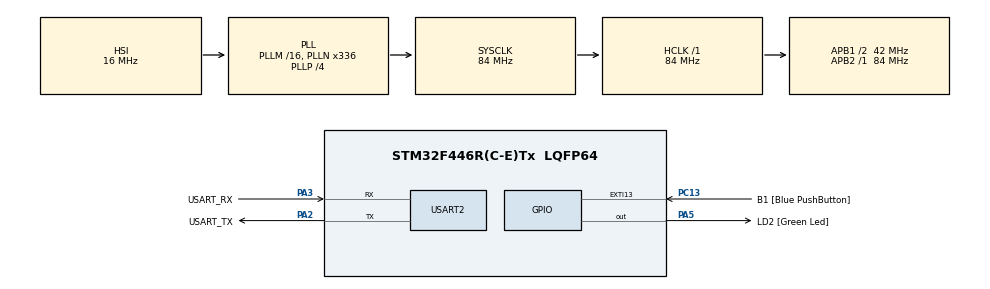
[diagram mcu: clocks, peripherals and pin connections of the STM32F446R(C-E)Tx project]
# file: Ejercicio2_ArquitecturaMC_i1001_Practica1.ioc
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Mcu.Family=STM32F4
Mcu.Name=STM32F446R(C-E)Tx
Mcu.Package=LQFP64
NVIC.PriorityGroup=NVIC_PRIORITYGROUP_0
PA13.GPIO_Label=TMS
PA13.Mode=Serial_Wire
PA13.Signal=SYS_JTMS-SWDIO
PA14.GPIO_Label=TCK
PA14.Mode=Serial_Wire
PA14.Signal=SYS_JTCK-SWCLK
PA2.GPIO_Label=USART_TX
PA2.Mode=Asynchronous
PA2.Signal=USART2_TX
PA3.GPIO_Label=USART_RX
PA3.Mode=Asynchronous
PA3.Signal=USART2_RX
PA5.GPIO_Label=LD2 [Green Led]
PA5.Signal=GPIO_Output
PB3.GPIO_Label=SWO
PB3.Signal=SYS_JTDO-SWO
PC13.GPIO_Label=B1 [Blue PushButton]
PC13.GPIO_ModeDefaultEXTI=GPIO_MODE_IT_FALLING
PC13.Signal=GPXTI13
PC14-OSC32_IN.Mode=LSE-External-Oscillator
PC14-OSC32_IN.Signal=RCC_OSC32_IN
PC15-OSC32_OUT.Mode=LSE-External-Oscillator
PC15-OSC32_OUT.Signal=RCC_OSC32_OUT
PH0-OSC_IN.Mode=HSE-External-Oscillator
PH0-OSC_IN.Signal=RCC_OSC_IN
PH1-OSC_OUT.Mode=HSE-External-Oscillator
PH1-OSC_OUT.Signal=RCC_OSC_OUT
ProjectManager.HeapSize=0x200
ProjectManager.StackSize=0x400
ProjectManager.TargetToolchain=STM32CubeIDE
RCC.48MHZClocksFreq_Value=84000000
RCC.AHBFreq_Value=84000000
RCC.APB1CLKDivider=RCC_HCLK_DIV2
RCC.APB1Freq_Value=42000000
RCC.APB1TimFreq_Value=84000000
RCC.APB2Freq_Value=84000000
RCC.APB2TimFreq_Value=84000000
RCC.CortexFreq_Value=84000000
RCC.FLatency-AdvancedSettings=FLASH_LATENCY_2
RCC.HCLKFreq_Value=84000000
RCC.HSE_VALUE=8000000
RCC.HSI_VALUE=16000000
RCC.PLLN=336
RCC.PLLP=RCC_PLLP_DIV4
RCC.SYSCLKFreq_VALUE=84000000
RCC.SYSCLKSource=RCC_SYSCLKSOURCE_PLLCLK
RCC.USBFreq_Value=168000000
RCC.VCOOutputFreq_Value=336000000
USART2.VirtualMode=VM_ASYNC
board=NUCLEO-F446RE

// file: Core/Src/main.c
/* USER CODE BEGIN Header */
/**
  ******************************************************************************
  * @file           : main.c
  * @brief          : Main program body
  ******************************************************************************
  * @attention
  *
  * Copyright (c) 2025 STMicroelectronics.
  * All rights reserved.
  *
  * This software is licensed under terms that can be found in the LICENSE file
  * in the root directory of this software component.
  * If no LICENSE file comes with this software, it is provided AS-IS.
  *
  ******************************************************************************
  */
/* USER CODE END Header */
#include "main.h"

UART_HandleTypeDef huart2;

/* USER CODE BEGIN PV */
#define LEN 5
uint32_t datoOriginal = 1023; // 0x3FF
uint32_t ancho = 5;
uint32_t inicio = 3;
uint32_t resultadoC;
uint32_t resultadoAsm;
#define LEN 5
uint32_t vectorEntrada[LEN] = {10, 20, 30, 40, 50};
uint32_t vectorSalidaC[LEN];
uint32_t vectorSalidaAsm[LEN];
uint16_t miEscalar = 2;
uint16_t vecIn16[LEN] = {100, 2000, 3000, 4000, 50}; // 3000*2 y 4000*2 saturarán
uint16_t vecOut16_C[LEN];
uint16_t vecOut16_Asm[LEN];
uint16_t escalar16 = 2;
/* USER CODE END PV */

void SystemClock_Config(void);
static void MX_GPIO_Init(void);
static void MX_USART2_UART_Init(void);
/* USER CODE BEGIN PFP */
void productoEscalar32_C(uint32_t *vectorIn, uint32_t *vectorOut, uint32_t longitud, uint16_t escalar);
extern void productoEscalar32_Asm(uint32_t *vectorIn, uint32_t *vectorOut, uint32_t longitud, uint16_t escalar);

void productoEscalar12_C(uint16_t *vectorIn, uint16_t *vectorOut, uint32_t longitud, uint16_t escalar);
extern void productoEscalar12_Asm(uint16_t *vectorIn, uint16_t *vectorOut, uint32_t longitud, uint16_t escalar);

uint32_t bitfield_clear_C(uint32_t dato, uint32_t ancho, uint32_t inicio);
extern uint32_t bitfield_clear_Asm(uint32_t dato, uint32_t ancho, uint32_t inicio);
/* USER CODE END PFP */

int main(void)
{

  /* MCU Configuration--------------------------------------------------------*/

  /* Reset of all peripherals, Initializes the Flash interface and the Systick. */
  HAL_Init();

  /* Configure the system clock */
  SystemClock_Config();

  /* Initialize all configured peripherals */
  MX_GPIO_Init();
  MX_USART2_UART_Init();
  /* USER CODE BEGIN 2 */

  // Prueba en C
  productoEscalar32_C(vectorEntrada, vectorSalidaC, LEN, miEscalar);

  // Prueba en Assembly
  productoEscalar32_Asm(vectorEntrada, vectorSalidaAsm, LEN, miEscalar);

  // Prueba Ejercicio 2 - C
  productoEscalar12_C(vecIn16, vecOut16_C, LEN, escalar16);

  // Prueba Ejercicio 2 - Assembly
  productoEscalar12_Asm(vecIn16, vecOut16_Asm, LEN, escalar16);

  // Prueba Ejercicio 3
  resultadoC = bitfield_clear_C(datoOriginal, ancho, inicio);
  resultadoAsm = bitfield_clear_Asm(datoOriginal, ancho, inicio);

  /* USER CODE END 2 */

  /* Infinite loop */
  while (1)
  {

  }
}

void SystemClock_Config(void)
{
  RCC_OscInitTypeDef RCC_OscInitStruct = {0};
  RCC_ClkInitTypeDef RCC_ClkInitStruct = {0};

  /** Configure the main internal regulator output voltage
  */
  __HAL_RCC_PWR_CLK_ENABLE();
  __HAL_PWR_VOLTAGESCALING_CONFIG(PWR_REGULATOR_VOLTAGE_SCALE3);

  /** Initializes the RCC Oscillators according to the specified parameters
  * in the RCC_OscInitTypeDef structure.
  */
  RCC_OscInitStruct.OscillatorType = RCC_OSCILLATORTYPE_HSI;
  RCC_OscInitStruct.HSIState = RCC_HSI_ON;
  RCC_OscInitStruct.HSICalibrationValue = RCC_HSICALIBRATION_DEFAULT;
  RCC_OscInitStruct.PLL.PLLState = RCC_PLL_ON;
  RCC_OscInitStruct.PLL.PLLSource = RCC_PLLSOURCE_HSI;
  RCC_OscInitStruct.PLL.PLLM = 16;
  RCC_OscInitStruct.PLL.PLLN = 336;
  RCC_OscInitStruct.PLL.PLLP = RCC_PLLP_DIV4;
  RCC_OscInitStruct.PLL.PLLQ = 2;
  RCC_OscInitStruct.PLL.PLLR = 2;
  if (HAL_RCC_OscConfig(&RCC_OscInitStruct) != HAL_OK)
  {
    Error_Handler();
  }

  /** Initializes the CPU, AHB and APB buses clocks
  */
  RCC_ClkInitStruct.ClockType = RCC_CLOCKTYPE_HCLK|RCC_CLOCKTYPE_SYSCLK
                              |RCC_CLOCKTYPE_PCLK1|RCC_CLOCKTYPE_PCLK2;
  RCC_ClkInitStruct.SYSCLKSource = RCC_SYSCLKSOURCE_PLLCLK;
  RCC_ClkInitStruct.AHBCLKDivider = RCC_SYSCLK_DIV1;
  RCC_ClkInitStruct.APB1CLKDivider = RCC_HCLK_DIV2;
  RCC_ClkInitStruct.APB2CLKDivider = RCC_HCLK_DIV1;

  if (HAL_RCC_ClockConfig(&RCC_ClkInitStruct, FLASH_LATENCY_2) != HAL_OK)
  {
    Error_Handler();
  }
}

static void MX_USART2_UART_Init(void)
{

  huart2.Instance = USART2;
  huart2.Init.BaudRate = 115200;
  huart2.Init.WordLength = UART_WORDLENGTH_8B;
  huart2.Init.StopBits = UART_STOPBITS_1;
  huart2.Init.Parity = UART_PARITY_NONE;
  huart2.Init.Mode = UART_MODE_TX_RX;
  huart2.Init.HwFlowCtl = UART_HWCONTROL_NONE;
  huart2.Init.OverSampling = UART_OVERSAMPLING_16;
  if (HAL_UART_Init(&huart2) != HAL_OK)
  {
    Error_Handler();
  }

}

static void MX_GPIO_Init(void)
{
  GPIO_InitTypeDef GPIO_InitStruct = {0};

  /* GPIO Ports Clock Enable */
  __HAL_RCC_GPIOC_CLK_ENABLE();
  __HAL_RCC_GPIOH_CLK_ENABLE();
  __HAL_RCC_GPIOA_CLK_ENABLE();
  __HAL_RCC_GPIOB_CLK_ENABLE();

  /*Configure GPIO pin Output Level */
  HAL_GPIO_WritePin(LD2_GPIO_Port, LD2_Pin, GPIO_PIN_RESET);

  /*Configure GPIO pin : B1_Pin */
  GPIO_InitStruct.Pin = B1_Pin;
  GPIO_InitStruct.Mode = GPIO_MODE_IT_FALLING;
  GPIO_InitStruct.Pull = GPIO_NOPULL;
  HAL_GPIO_Init(B1_GPIO_Port, &GPIO_InitStruct);

  /*Configure GPIO pin : LD2_Pin */
  GPIO_InitStruct.Pin = LD2_Pin;
  GPIO_InitStruct.Mode = GPIO_MODE_OUTPUT_PP;
  GPIO_InitStruct.Pull = GPIO_NOPULL;
  GPIO_InitStruct.Speed = GPIO_SPEED_FREQ_LOW;
  HAL_GPIO_Init(LD2_GPIO_Port, &GPIO_InitStruct);

}

/* USER CODE BEGIN 4 */

void productoEscalar32_C(uint32_t *vectorIn, uint32_t *vectorOut, uint32_t longitud, uint16_t escalar) {
    for (uint32_t i = 0; i < longitud; i++) {
        vectorOut[i] = vectorIn[i] * escalar;
    }
}

void productoEscalar12_C(uint16_t *vectorIn, uint16_t *vectorOut, uint32_t longitud, uint16_t escalar) {
    for (uint32_t i = 0; i < longitud; i++) {
        // 1. Realizamos el producto en 32 bits para evitar desbordamiento prematuro
        uint32_t producto = (uint32_t)vectorIn[i] * escalar;

        // 2. Aplicamos la lógica de saturación a 12 bits (Máx 4095)
        if (producto > 4095) {
            vectorOut[i] = 4095;
        } else {
            vectorOut[i] = (uint16_t)producto;
        }
    }
}

uint32_t bitfield_clear_C(uint32_t dato, uint32_t ancho, uint32_t inicio) {
    // 1. Crear una máscara de 'ancho' unos en la posición 0.
    //    Ej: si ancho=5, (1<<5) es 100000, restamos 1 y queda 011111.
    uint32_t mascara = (1U << ancho) - 1;

    // 2. Desplazar la máscara a la posición de 'inicio'.
    //    Ej: si inicio=3, desplazamos 011111 tres veces a la izquierda.
    mascara = mascara << inicio;

    // 3. Aplicar la máscara invertida con AND (BIC logic).
    //    Esto preserva todos los bits excepto los que están en 'mascara'.
    return dato & (~mascara);
}

/* USER CODE END 4 */

void Error_Handler(void)
{
  __disable_irq();
  while (1)
  {
  }
}
